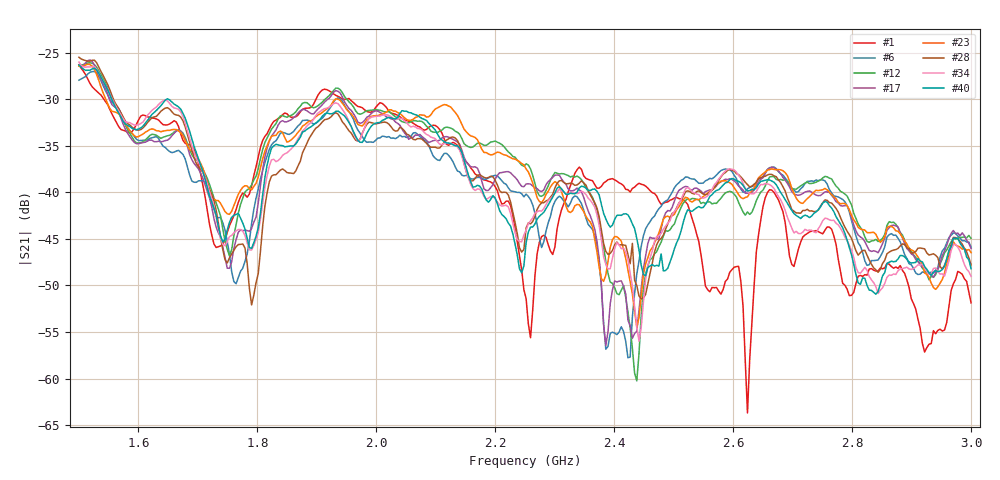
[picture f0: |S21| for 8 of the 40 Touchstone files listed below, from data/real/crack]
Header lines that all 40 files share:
# HZ S RI R 50
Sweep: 1.5 GHz to 3 GHz
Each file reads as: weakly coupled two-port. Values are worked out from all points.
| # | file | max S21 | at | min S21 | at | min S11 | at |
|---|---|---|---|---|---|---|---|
| 1 | Crack_001.s2p | -26.31 dB | 1.5 GHz | -63.7 dB | 2.624 GHz | -36.7 dB | 2.233 GHz |
| 2 | Crack_002.s2p | -27.02 dB | 1.5 GHz | -52.6 dB | 2.434 GHz | -45.3 dB | 2.356 GHz |
| 3 | Crack_003.s2p | -27.35 dB | 1.5 GHz | -53.5 dB | 1.761 GHz | -47.0 dB | 2.356 GHz |
| 4 | Crack_004.s2p | -27.13 dB | 1.5 GHz | -52.9 dB | 2.427 GHz | -44.1 dB | 2.356 GHz |
| 5 | Crack_006.s2p | -26.60 dB | 1.5 GHz | -52.5 dB | 2.382 GHz | -47.5 dB | 2.356 GHz |
| 6 | Crack_010.s2p | -27.02 dB | 1.526 GHz | -57.8 dB | 2.423 GHz | -45.4 dB | 2.356 GHz |
| 7 | Crack_012.s2p | -25.40 dB | 1.519 GHz | -70.3 dB | 2.438 GHz | -42.2 dB | 2.356 GHz |
| 8 | Crack_016.s2p | -25.58 dB | 1.5 GHz | -64.0 dB | 2.442 GHz | -45.9 dB | 2.356 GHz |
| 9 | Crack_017.s2p | -25.33 dB | 1.519 GHz | -64.9 dB | 2.442 GHz | -44.4 dB | 2.356 GHz |
| 10 | Crack_019.s2p | -25.82 dB | 1.519 GHz | -58.4 dB | 2.442 GHz | -45.1 dB | 2.356 GHz |
| 11 | Crack_021.s2p | -26.30 dB | 1.519 GHz | -57.6 dB | 2.438 GHz | -47.0 dB | 2.356 GHz |
| 12 | Crack_022.s2p | -26.09 dB | 1.519 GHz | -60.2 dB | 2.438 GHz | -46.8 dB | 2.356 GHz |
| 13 | Crack_025.s2p | -25.58 dB | 1.519 GHz | -57.1 dB | 2.393 GHz | -50.9 dB | 2.356 GHz |
| 14 | Crack_026.s2p | -25.49 dB | 1.5 GHz | -72.2 dB | 2.442 GHz | -49.1 dB | 2.356 GHz |
| 15 | Crack_027.s2p | -25.93 dB | 1.507 GHz | -69.8 dB | 2.442 GHz | -50.6 dB | 2.356 GHz |
| 16 | Crack_032.s2p | -26.84 dB | 1.519 GHz | -57.9 dB | 2.386 GHz | -42.9 dB | 2.356 GHz |
| 17 | Crack_034.s2p | -25.79 dB | 1.519 GHz | -56.4 dB | 2.386 GHz | -41.1 dB | 2.356 GHz |
| 18 | Crack_035.s2p | -25.90 dB | 1.519 GHz | -54.8 dB | 2.39 GHz | -42.7 dB | 2.356 GHz |
| 19 | Crack_037.s2p | -26.22 dB | 1.519 GHz | -58.1 dB | 2.382 GHz | -38.4 dB | 2.356 GHz |
| 20 | Crack_041.s2p | -26.37 dB | 1.519 GHz | -59.2 dB | 2.438 GHz | -40.1 dB | 2.356 GHz |
| 21 | Crack_042.s2p | -26.46 dB | 1.515 GHz | -67.7 dB | 2.438 GHz | -41.2 dB | 2.356 GHz |
| 22 | Crack_043.s2p | -26.39 dB | 1.5 GHz | -59.3 dB | 2.438 GHz | -43.3 dB | 2.356 GHz |
| 23 | Crack_052.s2p | -26.25 dB | 1.515 GHz | -54.5 dB | 2.438 GHz | -44.2 dB | 2.356 GHz |
| 24 | Crack_053.s2p | -25.82 dB | 1.519 GHz | -54.0 dB | 2.438 GHz | -44.8 dB | 2.356 GHz |
| 25 | Crack_054.s2p | -25.75 dB | 1.519 GHz | -58.0 dB | 2.438 GHz | -43.7 dB | 2.356 GHz |
| 26 | Crack_055.s2p | -26.29 dB | 1.519 GHz | -56.0 dB | 2.442 GHz | -44.1 dB | 2.356 GHz |
| 27 | Crack_056.s2p | -25.35 dB | 1.5 GHz | -57.2 dB | 1.79 GHz | -38.1 dB | 2.23 GHz |
| 28 | Crack_058.s2p | -25.50 dB | 1.5 GHz | -52.1 dB | 1.79 GHz | -37.7 dB | 2.23 GHz |
| 29 | Crack_059.s2p | -25.72 dB | 1.5 GHz | -55.0 dB | 1.787 GHz | -38.9 dB | 2.23 GHz |
| 30 | Crack_061.s2p | -25.75 dB | 1.5 GHz | -53.0 dB | 2.442 GHz | -39.3 dB | 2.23 GHz |
| 31 | Crack_062.s2p | -25.69 dB | 1.5 GHz | -53.9 dB | 2.442 GHz | -40.0 dB | 2.23 GHz |
| 32 | Crack_063.s2p | -25.91 dB | 1.5 GHz | -53.4 dB | 2.438 GHz | -41.3 dB | 2.23 GHz |
| 33 | Crack_065.s2p | -26.08 dB | 1.5 GHz | -55.4 dB | 2.442 GHz | -41.6 dB | 2.23 GHz |
| 34 | Crack_066.s2p | -26.01 dB | 1.5 GHz | -56.0 dB | 2.442 GHz | -39.0 dB | 2.23 GHz |
| 35 | Crack_069.s2p | -25.55 dB | 1.5 GHz | -52.0 dB | 2.449 GHz | -39.2 dB | 2.23 GHz |
| 36 | Crack_070.s2p | -25.30 dB | 1.5 GHz | -52.1 dB | 2.453 GHz | -38.0 dB | 2.23 GHz |
| 37 | Crack_072.s2p | -25.77 dB | 1.5 GHz | -50.7 dB | 2.453 GHz | -37.3 dB | 2.23 GHz |
| 38 | Crack_073.s2p | -25.68 dB | 1.5 GHz | -51.3 dB | 2.449 GHz | -39.0 dB | 2.23 GHz |
| 39 | Crack_076.s2p | -26.24 dB | 1.5 GHz | -50.9 dB | 2.84 GHz | -39.0 dB | 2.23 GHz |
| 40 | Crack_077.s2p | -26.33 dB | 1.5 GHz | -50.9 dB | 2.84 GHz | -39.1 dB | 2.23 GHz |
